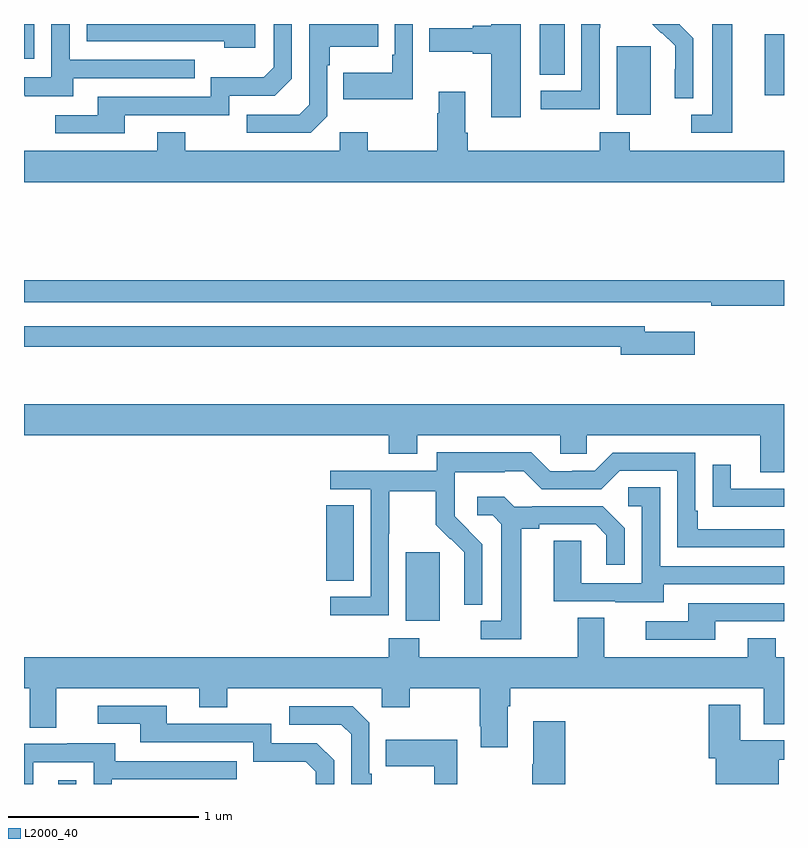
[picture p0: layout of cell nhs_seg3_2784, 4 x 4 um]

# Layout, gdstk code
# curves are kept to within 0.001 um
import gdstk
lib = gdstk.Library(unit=1e-6, precision=1e-09)
def R(c, l, rs):  # rectangles x0, y0, x1, y1
    for r in rs: c.add(gdstk.rectangle(r[:2], r[2:], *l))
def P(c, l, *ps):  # polygons
    for p in ps: c.add(gdstk.Polygon(p, *l))
L2000_40 = (2000, 40)

nhs_seg3_2784 = lib.new_cell('nhs_seg3_2784')
R(nhs_seg3_2784, L2000_40, [(255.179,712.4,255.276,712.42), (257.009,713.258,257.188,713.619), (256.592,713.47,256.735,713.867), (258.119,715.922,258.298,716.283), (258.899,716.025,259,716.345), (257.714,716.134,257.845,716.4), (255,716.217,255.054,716.4)])
P(nhs_seg3_2784, L2000_40, [(258.727,716.4),(258.623,716.4),(258.623,715.923),(258.513,715.923),(258.513,715.827),(258.727,715.827)],
  [(255.529,715.92),(256.08,715.92),(256.08,716.022),(256.32,716.022),(256.41,716.112),(256.41,716.4),(256.314,716.4),(256.314,716.172),(256.261,716.119),(255.984,716.119),(255.984,716.016),(255.389,716.016),(255.389,715.92),(255.165,715.92),(255.165,715.824),(255.529,715.824)],
  [(255.259,716.115),(255.899,716.115),(255.899,716.211),(255.24,716.211),(255.24,716.4),(255.144,716.4),(255.144,716.121),(255,716.121),(255,716.025),(255.005,716.025),(255.005,716.021),(255.259,716.021)],
  [(257.046,716.4),(256.95,716.4),(256.95,716.239),(256.938,716.239),(256.938,716.143),(256.681,716.143),(256.681,716.003),(257.046,716.003)],
  [(258.03,716.38),(258.033,716.38),(258.033,716.4),(257.934,716.4),(257.934,716.049),(257.721,716.049),(257.721,715.951),(258.03,715.951)],
  [(258.522,716.326),(258.449,716.399),(258.45,716.4),(258.306,716.4),(258.354,716.352),(258.357,716.355),(258.428,716.285),(258.428,716.162),(258.426,716.162),(258.426,716.008),(258.522,716.008)],
  [(257.614,716.4),(257.459,716.4),(257.459,716.39),(257.363,716.39),(257.363,716.377),(257.133,716.377),(257.133,716.255),(257.363,716.255),(257.363,716.243),(257.459,716.243),(257.459,715.908),(257.614,715.908)],
  [(256.596,715.914),(256.596,716.183),(256.609,716.183),(256.609,716.279),(256.865,716.279),(256.865,716.4),(256.5,716.4),(256.5,715.974),(256.449,715.923),(256.173,715.923),(256.173,715.827),(256.509,715.827)],
  [(256.216,716.4),(255.33,716.4),(255.33,716.31),(256.055,716.31),(256.055,716.276),(256.216,716.276)],
  [(259,715.732),(258.189,715.732),(258.189,715.831),(258.029,715.831),(258.029,715.732),(257.336,715.732),(257.336,715.828),(257.323,715.828),(257.323,716.044),(257.183,716.044),(257.183,715.931),(257.176,715.931),(257.176,715.732),(256.809,715.732),(256.809,715.831),(256.662,715.831),(256.662,715.732),(255.849,715.732),(255.849,715.831),(255.701,715.831),(255.701,715.732),(255,715.732),(255,715.568),(259,715.568)],
  [(259,715.052),(255,715.052),(255,714.936),(258.364,714.936),(258.364,714.935),(258.616,714.935),(258.616,714.916),(259,714.916)],
  [(258.529,714.781),(258.268,714.781),(258.268,714.81),(255,714.81),(255,714.702),(258.14,714.702),(258.14,714.659),(258.529,714.659)],
  [(259,714.4),(255,714.4),(255,714.236),(256.919,714.236),(256.919,714.137),(257.071,714.137),(257.071,714.236),(257.823,714.236),(257.823,714.138),(257.961,714.138),(257.961,714.236),(258.875,714.236),(258.875,714.042),(259,714.042)],
  [(256.92,713.716),(256.923,713.716),(256.923,713.94),(257.167,713.94),(257.167,713.765),(257.244,713.688),(257.247,713.691),(257.318,713.621),(257.318,713.498),(257.316,713.498),(257.316,713.344),(257.412,713.344),(257.412,713.662),(257.266,713.81),(257.266,713.907),(257.268,713.907),(257.268,714.041),(257.531,714.041),(257.531,714.045),(257.631,714.045),(257.724,713.952),(258.039,713.952),(258.135,714.048),(258.438,714.048),(258.438,713.646),(259,713.646),(259,713.742),(258.547,713.742),(258.547,713.839),(258.534,713.839),(258.534,714.144),(258.099,714.144),(258.003,714.048),(257.885,714.048),(257.885,714.045),(257.769,714.045),(257.669,714.145),(257.172,714.145),(257.172,714.048),(256.611,714.048),(256.611,713.952),(256.824,713.952),(256.824,713.385),(256.611,713.385),(256.611,713.287),(256.92,713.287)],
  [(259,713.955),(258.721,713.955),(258.721,714.079),(258.625,714.079),(258.625,713.86),(258.727,713.86),(258.727,713.859),(259,713.859)],
  [(258.367,713.451),(259,713.451),(259,713.547),(258.348,713.547),(258.348,713.963),(258.18,713.963),(258.18,713.862),(258.252,713.862),(258.252,713.457),(257.934,713.457),(257.934,713.681),(257.789,713.681),(257.789,713.361),(258.113,713.361),(258.113,713.357),(258.367,713.357)],
  [(257.617,713.744),(257.713,713.744),(257.713,713.766),(258.008,713.766),(258.065,713.709),(258.065,713.553),(258.162,713.553),(258.162,713.746),(258.046,713.862),(257.674,713.862),(257.674,713.859),(257.58,713.859),(257.528,713.911),(257.385,713.911),(257.385,713.814),(257.466,713.814),(257.513,713.767),(257.513,713.259),(257.403,713.259),(257.403,713.163),(257.617,713.163)],
  [(258.637,713.256),(259,713.256),(259,713.352),(258.497,713.352),(258.497,713.256),(258.273,713.256),(258.273,713.16),(258.637,713.16)],
  [(257.545,712.808),(257.558,712.808),(257.558,712.904),(258.893,712.904),(258.893,712.714),(259,712.714),(259,713.068),(258.957,713.068),(258.957,713.167),(258.809,713.167),(258.809,713.068),(258.055,713.068),(258.055,713.276),(257.915,713.276),(257.915,713.068),(257.079,713.068),(257.079,713.167),(256.919,713.167),(256.919,713.068),(255,713.068),(255,712.904),(255.029,712.904),(255.029,712.696),(255.169,712.696),(255.169,712.904),(255.923,712.904),(255.923,712.805),(256.071,712.805),(256.071,712.904),(256.884,712.904),(256.884,712.805),(257.031,712.805),(257.031,712.904),(257.398,712.904),(257.398,712.705),(257.405,712.705),(257.405,712.593),(257.545,712.593)],
  [(258.973,712.528),(259,712.528),(259,712.629),(258.769,712.629),(258.769,712.816),(258.605,712.816),(258.605,712.536),(258.641,712.536),(258.641,712.4),(258.973,712.4)],
  [(256.632,712.524),(256.542,712.614),(256.302,712.614),(256.302,712.716),(255.751,712.716),(255.751,712.812),(255.387,712.812),(255.387,712.716),(255.611,712.716),(255.611,712.62),(256.206,712.62),(256.206,712.517),(256.483,712.517),(256.536,712.464),(256.536,712.4),(256.632,712.4)],
  [(256.831,712.453),(256.818,712.453),(256.818,712.722),(256.731,712.809),(256.395,712.809),(256.395,712.713),(256.671,712.713),(256.722,712.662),(256.722,712.4),(256.831,712.4)],
  [(257.849,712.729),(257.681,712.729),(257.681,712.505),(257.674,712.505),(257.674,712.4),(257.849,712.4)],
  [(257.281,712.633),(256.903,712.633),(256.903,712.493),(257.16,712.493),(257.16,712.4),(257.281,712.4)],
  [(255.048,712.515),(255.366,712.515),(255.366,712.4),(255.462,712.4),(255.462,712.425),(256.121,712.425),(256.121,712.521),(255.481,712.521),(255.481,712.615),(255.227,712.615),(255.227,712.611),(255,712.611),(255,712.4),(255.048,712.4)])

lib.write_gds('nhs_seg3_2784.gds')
